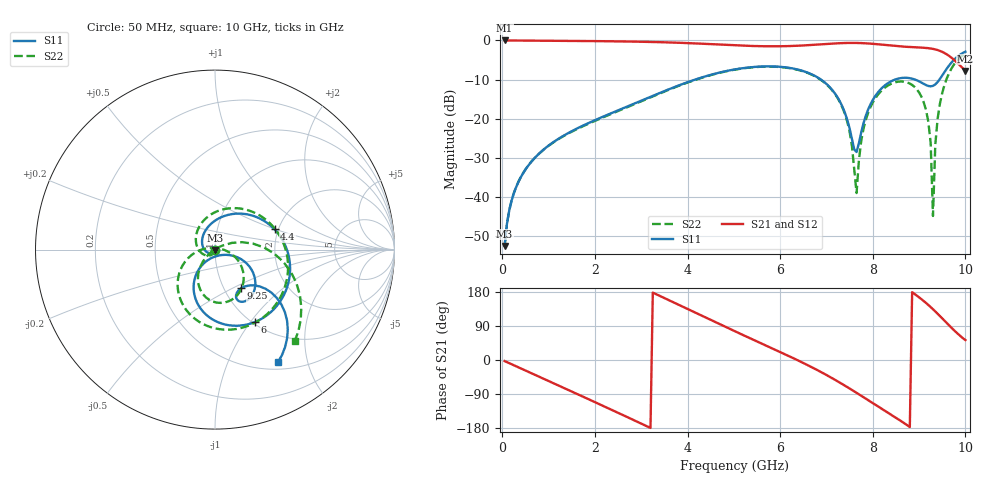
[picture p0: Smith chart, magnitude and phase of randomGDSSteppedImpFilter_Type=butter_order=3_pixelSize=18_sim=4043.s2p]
! freq	dB(S11)	phase(S11)	dB(S12)	phase(S12)
!  dB(S21)	phase(S21)	dB(S22)	phase(S22)
!S-par simulation data
#  GHz  S  DB  R 50
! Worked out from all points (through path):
!   200 points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, 50 MHz to 10 GHz, reference 50 ohm
!   highest |S21| = 0.00 dB at 50 MHz (marker M1); lowest = -7.8 dB at 10 GHz (marker M2)
!   group delay of S21, straight-line fit = 174 ps
!   lowest |S11| = -52.4 dB at 50 MHz (marker M3), VSWR 1.00, Z = 50 - j0.237 ohm
!   |S11| at or under -10 dB: start of sweep to 4.16 GHz; 6.882 GHz to 8.478 GHz (1.596 GHz wide, 20.8 % of centre); 8.915 GHz to 9.438 GHz (523.1 MHz wide, 5.7 % of centre)
!   |S22| runs from -52.5 to -3.4 dB; largest |S21 - S12| = 0
!   S11 on the Smith chart (normalised r, x): 50 MHz: 1.00, -0.00; 4.4 GHz: 1.91, +0.49; 6 GHz: 1.03, -1.05; 9.25 GHz: 1.20, -0.55; 10 GHz: 0.60, -1.54
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0.05  -52.42 -81.4  -0.00 -2.8  -0.00 -2.8  -52.48 -79.4
0.2  -40.91 -101.3  -0.02 -11.1  -0.02 -11.1  -40.84 -95.3
0.5  -32.93 -125.1  -0.04 -27.7  -0.04 -27.7  -32.89 -110.4
1.75  -21.68 151.1  -0.14 -97.1  -0.14 -97.1  -21.83 -169.3
2.65  -17.09 102.1  -0.26 -147.8  -0.26 -147.8  -17.26 138.3
3.4  -13.40 66.6  -0.44 169.2  -0.44 169.2  -13.52 88.5
4.4  -9.11 18.8  -0.88 111.3  -0.88 111.3  -9.18 22.0
5.05  -7.33 -13.3  -1.26 74.3  -1.26 74.3  -7.39 -18.7
6  -6.73 -61.0  -1.49 21.2  -1.49 21.2  -6.79 -75.1
6.7  -8.75 -97.9  -1.14 -20.1  -1.14 -20.1  -8.82 -118.4
7.4  -18.51 -129.9  -0.65 -67.8  -0.65 -67.8  -18.81 -170.9
7.55  -25.12 -116.6  -0.63 -79.0  -0.63 -79.0  -26.90 169.8
7.65  -28.46 -64.1  -0.64 -86.6  -0.64 -86.6  -38.93 66.4
7.75  -23.48 -25.7  -0.68 -94.3  -0.68 -94.3  -25.67 -2.1
7.85  -19.19 -18.8  -0.73 -102.0  -0.73 -102.0  -20.20 -15.2
8.35  -10.73 -39.4  -1.25 -140.8  -1.25 -140.8  -11.34 -58.9
9  -10.44 -66.3  -1.79 165.4  -1.79 165.4  -13.27 -114.9
9.25  -11.71 -56.1  -2.05 139.7  -2.05 139.7  -26.11 -141.9
9.3  -11.59 -51.4  -2.16 134.1  -2.16 134.1  -44.78 159.3
9.35  -11.21 -46.6  -2.29 128.2  -2.29 128.2  -26.60 28.5
9.45  -9.82 -39.4  -2.66 116.1  -2.66 116.1  -16.13 15.4
10  -2.88 -60.7  -7.76 52.5  -7.76 52.5  -3.39 -49.0
